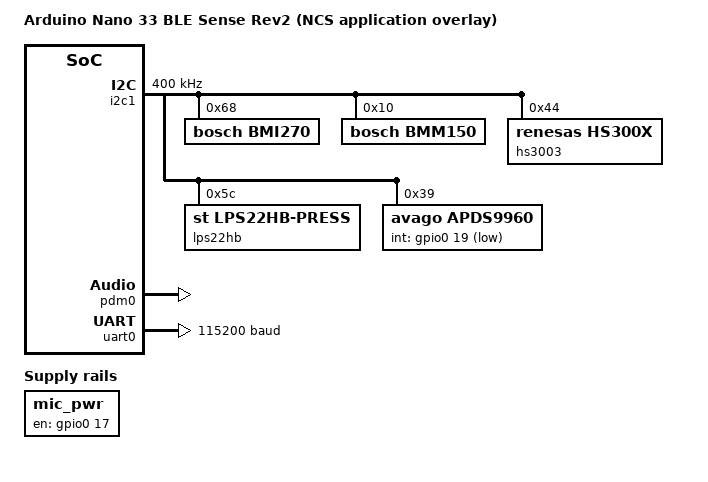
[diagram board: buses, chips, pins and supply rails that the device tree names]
/*
 * SPDX-FileCopyrightText: Copyright 2026 Loic Domaigne
 *
 * SPDX-License-Identifier: Apache-2.0
 */

#include <zephyr/dt-bindings/gpio/nordic-nrf-gpio.h>

/ {
	aliases {
		accel0 = &bmi270;
	};
};

/delete-node/ &lsm9ds1;
/delete-node/ &lsm9ds1_mag;

&i2c1 {
	clock-frequency = <I2C_BITRATE_FAST>;

	bmi270: bmi270@68 {
		compatible = "bosch,bmi270";
		reg = <0x68>;
	};

	bmm150: bmm150@10 {
		compatible = "bosch,bmm150";
		reg = <0x10>;
	};
};

&vdd_env {
	enable-gpios = <&gpio0 22 (GPIO_ACTIVE_HIGH | NRF_GPIO_DRIVE_H0H1)>;
};

/* Sense-only devices from upstream's Sense DTS and Rev2 overlay. */
/ {
    model = "Arduino Nano 33 BLE Sense Rev2 (NCS application overlay)";
    chosen {
        zephyr,console = &uart0;
        zephyr,shell-uart = &uart0;
        zephyr,uart-mcumgr = &uart0;
    };
    mic_pwr: mic_pwr {
        compatible = "regulator-fixed";
        regulator-name = "mic_pwr";
        enable-gpios = <&gpio0 17 GPIO_ACTIVE_HIGH>;
        regulator-boot-on;
    };
};
&i2c1 {
    hs3003: hs3003@44 {
        compatible = "renesas,hs300x";
        reg = <0x44>;
    };
    lps22hb: lps22hb-press@5c {
        compatible = "st,lps22hb-press";
        reg = <0x5c>;
    };
    apds9960: apds9960@39 {
        compatible = "avago,apds9960";
        reg = <0x39>;
        int-gpios = <&gpio0 19 (GPIO_ACTIVE_LOW | GPIO_PULL_UP)>;
    };
};
dmic_dev: &pdm0 {
    status = "okay";
    pinctrl-0 = <&pdm0_default>;
    pinctrl-1 = <&pdm0_sleep>;
    pinctrl-names = "default", "sleep";
    clock-source = "PCLK32M_HFXO";
};
&uart0 {
    status = "okay";
    current-speed = <115200>;
    /delete-property/ hw-flow-control;
};
